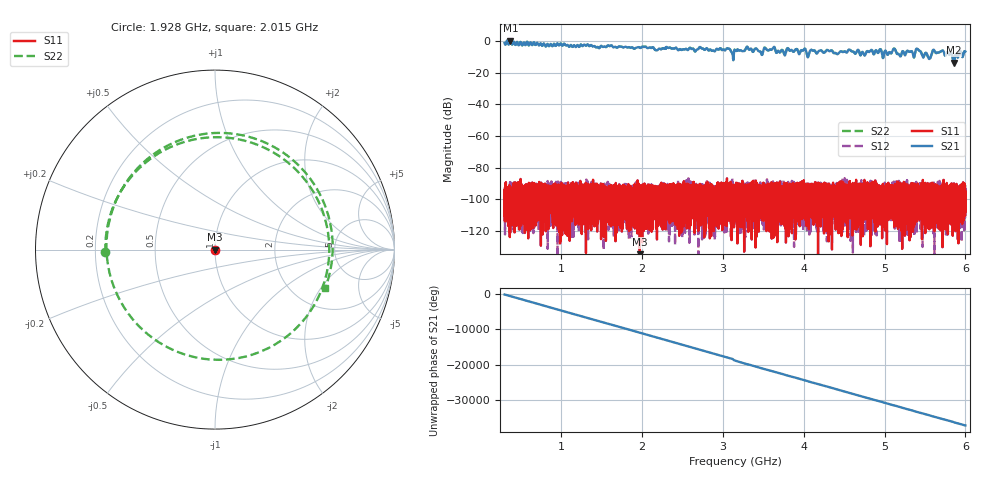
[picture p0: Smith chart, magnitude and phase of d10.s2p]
!Agilent Technologies,N5230C,SG49000117,A.08.50.07
!Agilent N5230C: A.08.50.07
!Date: Sunday, March 17, 2024 06:18:20
!Correction: S11(Off)
!S21(Off)
!S12(Off)
!S22(Off)
!S2P File: Measurements: S11, S21, S12, S22:
# Hz S  RI  R 50
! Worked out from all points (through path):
!   20001 points, 300 MHz to 6 GHz, reference 50 ohm
!   highest |S21| = 0.27 dB at 371.8 MHz (marker M1); lowest = -13.7 dB at 5.855 GHz (marker M2)
!   lowest |S11| = -137.8 dB at 1.972 GHz (marker M3), VSWR 1.00, Z = 50 - j1.7e-06 ohm
!   |S11| at or under -10 dB: start of sweep to end of sweep
!   |S22| runs from -13.8 to 0.3 dB; largest |S21 - S12| = 1
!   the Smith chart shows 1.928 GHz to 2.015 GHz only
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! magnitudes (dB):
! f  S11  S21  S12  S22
! 300 MHz  -99.0  -1.3  -94.0  -1.3
! 371.8 MHz  -106.1  0.3  -96.5  0.3
! 1.25 GHz  -98.1  -2.6  -101.1  -2.6
! 1.972 GHz  -137.8  -4.3  -108.8  -4.3
! 2.2 GHz  -94.8  -5.4  -98.2  -5.4
! 3.064 GHz  -95.8  -4.8  -96.0  -4.8
! 3.15 GHz  -105.8  -5.7  -96.4  -5.7
! 3.307 GHz  -96.3  -4.0  -102.1  -4.0
! 3.469 GHz  -92.6  -7.2  -95.8  -7.1
! 3.618 GHz  -100.0  -4.6  -110.3  -4.5
! 3.757 GHz  -112.1  -8.2  -105.7  -8.1
! 4.1 GHz  -90.2  -5.9  -90.8  -5.7
! 5.05 GHz  -92.6  -7.7  -101.9  -7.7
! 5.117 GHz  -100.1  -4.9  -96.9  -4.8
! 5.179 GHz  -102.2  -8.5  -92.0  -8.5
! 5.354 GHz  -97.9  -8.8  -98.6  -8.8
! 5.411 GHz  -103.8  -5.3  -95.3  -5.3
! 5.554 GHz  -119.1  -11.4  -103.7  -11.5
! 5.606 GHz  -104.9  -5.5  -98.7  -5.6
! 5.706 GHz  -102.0  -6.3  -100.0  -6.4
! 5.855 GHz  -96.4  -13.7  -111.0  -13.8
! 6 GHz  -97.7  -6.7  -105.4  -6.8
